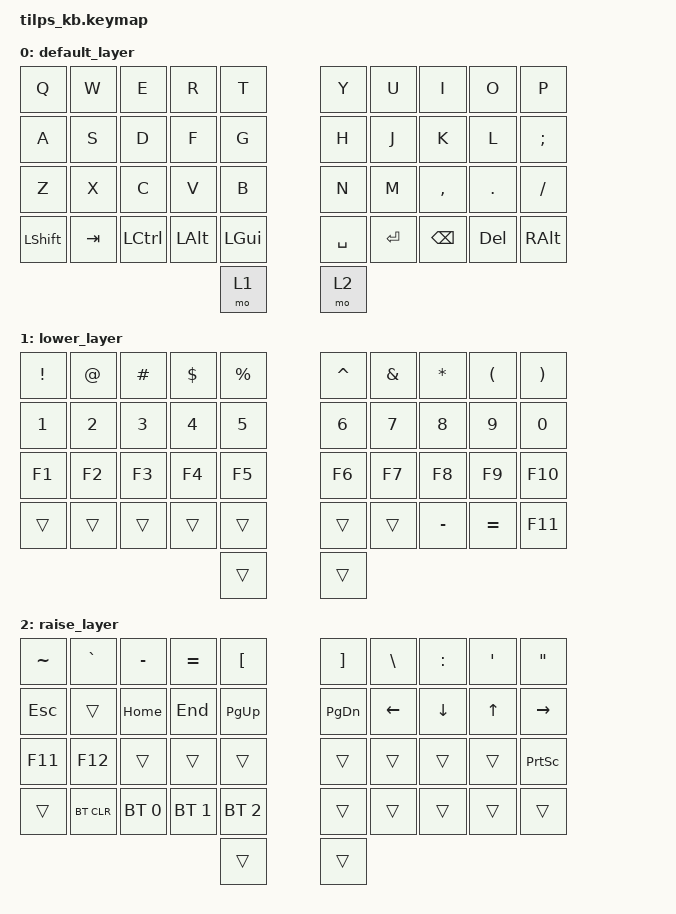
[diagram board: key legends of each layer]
/*
 * Tilps KB — default keymap (42 keys, 3 layers)
 *
 * Physical layout (per half, 21 keys):
 *   5 columns × 4 rows  +  1 thumb key
 *
 * ┌───────────────────────────────────────────────────────────┐
 * │  Q    W    E    R    T  │  Y    U    I    O    P          │
 * │  A    S    D    F    G  │  H    J    K    L    ;          │
 * │  Z    X    C    V    B  │  N    M    ,    .    /          │
 * │ LSft  Tab LCtl LAlt GUI │ Spc   Ret  BSp  Del RAlt       │
 * │                  MO(1) │ MO(2)                            │
 * └───────────────────────────────────────────────────────────┘
 */

#include <behaviors.dtsi>
#include <dt-bindings/zmk/keys.h>
#include <dt-bindings/zmk/bt.h>

/ {
    keymap {
        compatible = "zmk,keymap";

        /* ───────────────────────── Layer 0 : Base (QWERTY) ───────── */
        default_layer {
            bindings = <
// ╭─────────┬─────────┬─────────┬─────────┬─────────╮   ╭─────────┬─────────┬─────────┬─────────┬─────────╮
    &kp Q     &kp W     &kp E     &kp R     &kp T         &kp Y     &kp U     &kp I     &kp O     &kp P
// ├─────────┼─────────┼─────────┼─────────┼─────────┤   ├─────────┼─────────┼─────────┼─────────┼─────────┤
    &kp A     &kp S     &kp D     &kp F     &kp G         &kp H     &kp J     &kp K     &kp L     &kp SEMI
// ├─────────┼─────────┼─────────┼─────────┼─────────┤   ├─────────┼─────────┼─────────┼─────────┼─────────┤
    &kp Z     &kp X     &kp C     &kp V     &kp B         &kp N     &kp M     &kp COMMA &kp DOT   &kp FSLH
// ├─────────┼─────────┼─────────┼─────────┼─────────┤   ├─────────┼─────────┼─────────┼─────────┼─────────┤
    &kp LSHFT &kp TAB   &kp LCTRL &kp LALT  &kp LGUI      &kp SPACE &kp RET   &kp BSPC  &kp DEL   &kp RALT
// ╰─────────┴─────────┴─────────┴─────────┼─────────┤   ├─────────┼─────────┴─────────┴─────────┴─────────╯
                                            &mo 1         &mo 2
//                                         ╰─────────╯   ╰─────────╯
            >;
        };

        /* ───────────────────────── Layer 1 : Lower (Numbers / Symbols) ── */
        lower_layer {
            bindings = <
// ╭─────────┬─────────┬─────────┬─────────┬─────────╮   ╭─────────┬─────────┬─────────┬─────────┬─────────╮
    &kp EXCL  &kp AT    &kp HASH  &kp DLLR  &kp PRCNT     &kp CARET &kp AMPS  &kp STAR  &kp LPAR  &kp RPAR
// ├─────────┼─────────┼─────────┼─────────┼─────────┤   ├─────────┼─────────┼─────────┼─────────┼─────────┤
    &kp N1    &kp N2    &kp N3    &kp N4    &kp N5        &kp N6    &kp N7    &kp N8    &kp N9    &kp N0
// ├─────────┼─────────┼─────────┼─────────┼─────────┤   ├─────────┼─────────┼─────────┼─────────┼─────────┤
    &kp F1    &kp F2    &kp F3    &kp F4    &kp F5        &kp F6    &kp F7    &kp F8    &kp F9    &kp F10
// ├─────────┼─────────┼─────────┼─────────┼─────────┤   ├─────────┼─────────┼─────────┼─────────┼─────────┤
    &trans    &trans    &trans    &trans    &trans        &trans    &trans    &kp MINUS &kp EQUAL &kp F11
// ╰─────────┴─────────┴─────────┴─────────┼─────────┤   ├─────────┼─────────┴─────────┴─────────┴─────────╯
                                            &trans        &trans
//                                         ╰─────────╯   ╰─────────╯
            >;
        };

        /* ───────────────────────── Layer 2 : Raise (Navigation / Specials) ── */
        raise_layer {
            bindings = <
// ╭─────────┬─────────┬─────────┬─────────┬─────────╮   ╭─────────┬─────────┬─────────┬─────────┬─────────╮
    &kp TILDE &kp GRAVE &kp MINUS &kp EQUAL &kp LBKT      &kp RBKT  &kp BSLH  &kp COLN  &kp SQT   &kp DQT
// ├─────────┼─────────┼─────────┼─────────┼─────────┤   ├─────────┼─────────┼─────────┼─────────┼─────────┤
    &kp ESC   &trans    &kp HOME  &kp END   &kp PG_UP     &kp PG_DN &kp LEFT  &kp DOWN  &kp UP    &kp RIGHT
// ├─────────┼─────────┼─────────┼─────────┼─────────┤   ├─────────┼─────────┼─────────┼─────────┼─────────┤
    &kp F11   &kp F12   &trans    &trans    &trans        &trans    &trans    &trans    &trans    &kp PSCRN
// ├─────────┼─────────┼─────────┼─────────┼─────────┤   ├─────────┼─────────┼─────────┼─────────┼─────────┤
    &trans  &bt BT_CLR &bt BT_SEL 0 &bt BT_SEL 1 &bt BT_SEL 2   &trans &trans &trans  &trans    &trans
// ╰─────────┴─────────┴─────────┴─────────┼─────────┤   ├─────────┼─────────┴─────────┴─────────┴─────────╯
                                            &trans        &trans
//                                         ╰─────────╯   ╰─────────╯
            >;
        };
    };
};
